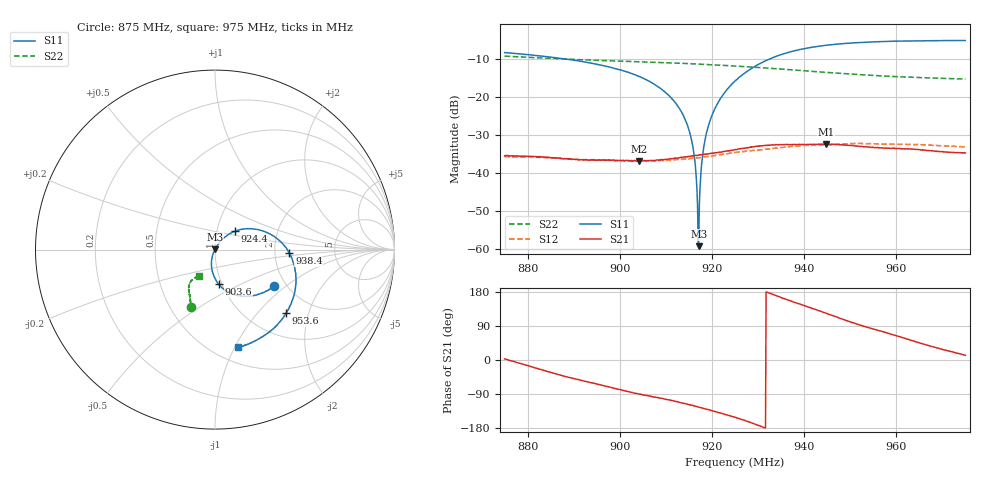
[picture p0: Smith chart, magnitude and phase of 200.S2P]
! C:\Users\rflab\Downloads\Lab5_KD_ZW\Q3\200.S2P
! Touchstone 1.1 file saved by VNA.EXE V1.65 (www.ke5fx.com/gpib/readme.htm)
! 11/18/2024 10:32:45 PM
!  Source: HEWLETT PACKARD,8753D,0,6.14
!  Min freq: 8.750000E+008 Hz
!  Max freq: 9.750200E+008 Hz
!  Points: 801
!  Params: S11 S21 S12 S22
# GHZ S MA R 50
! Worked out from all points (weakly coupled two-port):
!   801 points, 875 MHz to 975 MHz, reference 50 ohm
!   highest |S21| = -32.32 dB at 944.8 MHz (marker M1); lowest = -36.8 dB at 904.1 MHz (marker M2)
!   lowest |S11| = -59.2 dB at 917.1 MHz (marker M3), VSWR 1.00, Z = 50.1 + j0.0975 ohm
!   |S11| at or under -10 dB: 888.8 MHz to 932.3 MHz (43.59 MHz wide, 4.79 % of centre)
!   |S22| runs from -15.2 to -9.2 dB; largest |S21 - S12| = 0.006
!   S11 on the Smith chart (normalised r, x): 875 MHz: 1.74, -0.83; 903.6 MHz: 0.97, -0.39; 924.4 MHz: 1.22, +0.25; 938.4 MHz: 2.41, -0.12; 953.6 MHz: 1.46, -1.45; 975 MHz: 0.65, -1.03
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0.875  0.3877 -31.5  0.01705 3.0  0.01641 11.9  0.3482 -112.2
0.8917534  0.2964 -60.8  0.0151 -54.2  0.01514 -47.8  0.3126 -116.0
0.9036307  0.1942 -83.8  0.01462 -87.9  0.01439 -84.1  0.2941 -118.6
0.9041308  0.189 -84.8  0.01452 -89.5  0.01457 -86.0  0.2936 -118.6
0.9083817  0.1368 -94.3  0.01496 -99.7  0.01485 -96.4  0.2872 -119.9
0.9120074  0.0858 -103.6  0.01598 -108.5  0.01518 -106.8  0.2821 -120.9
0.9146329  0.04364 -110.6  0.01662 -116.3  0.01545 -113.8  0.2779 -121.4
0.9158832  0.022 -114.6  0.01707 -120.2  0.0159 -117.5  0.2756 -121.9
0.9162583  0.01521 -116.0  0.01711 -121.5  0.01586 -118.7  0.2748 -122.0
0.9167584  0.005933 -119.8  0.01704 -122.9  0.01603 -119.8  0.274 -122.2
0.9171334  0.001099 62.5  0.01738 -124.5  0.01608 -120.9  0.273 -122.2
0.9175085  0.008007 66.3  0.01754 -125.8  0.0161 -121.9  0.2721 -122.4
0.9181336  0.02022 61.7  0.01769 -127.2  0.01633 -124.1  0.2714 -122.7
0.9192588  0.0425 58.5  0.01805 -131.0  0.01667 -127.0  0.2691 -122.9
0.9243849  0.1501 42.9  0.02 -149.2  0.01853 -144.1  0.2588 -124.4
0.92501  0.1638 40.7  0.02045 -151.3  0.01875 -146.5  0.2584 -124.8
0.9383877  0.4153 -2.9  0.02387 150.3  0.02283 162.0  0.2271 -127.0
0.9417633  0.4563 -12.9  0.02397 135.7  0.02363 147.7  0.2198 -127.2
0.944764  0.4834 -21.1  0.02422 123.7  0.02365 135.8  0.2133 -127.1
0.9536407  0.5318 -41.9  0.02225 86.7  0.02454 99.3  0.1962 -125.8
0.9583917  0.5453 -51.0  0.02136 70.2  0.02412 80.1  0.189 -124.9
0.97502  0.5591 -77.0  0.01851 12.5  0.02238 16.9  0.1736 -120.9
